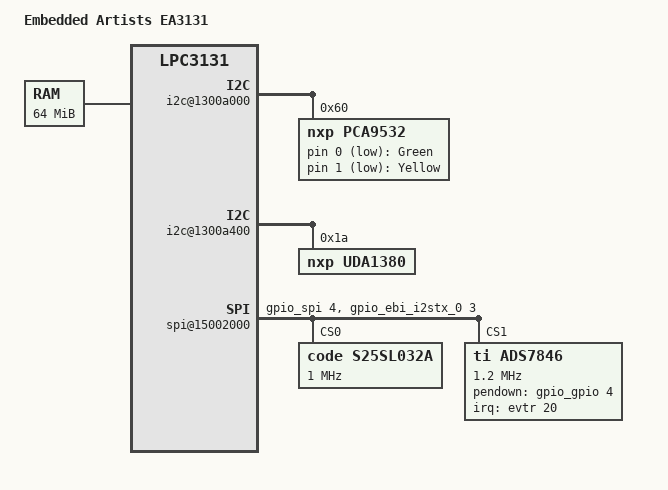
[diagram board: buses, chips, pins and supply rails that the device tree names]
/*
 * ea3131.dts - Device Tree file for EA3131 board
 *
 *  Copyright (C) 2012 Jon Smirl <jonsmirl@gmail.com>
 *
 * Licensed under GPLv2.
 */
/dts-v1/;
/include/ "lpc3131.dtsi"

/ {
	model = "Embedded Artists EA3131";
	compatible = "ea,ea3131", "nxp,lpc3131";

	chosen {
		bootargs = "console=ttyS0,115200n8 root=/dev/mmcblk0p3 init=/etc/preinit rw rootwait loglevel=7";
	};

	evtr@13000000 {
		events = <
			0 0x67 3 /* irq 0 EVT_wdog_m0, EVT_RISING_EDGE */
			0 0x7A 2 /* irq 1 EVT_usb_otg_vbus_pwr_en, EVT_FALLING_EDGE */
			0 0x77 2 /* irq 2 EVT_USB_VBUS, EVT_FALLING_EDGE */
			0 0x7b 0 /* irq 3 EVT_USB_ID, EVT_ACTIVE_LOW */
			1 0x18 1 /* irq 4 EVT_mNAND_RYBN3, EVT_ACTIVE_HIGH, DM9000_ETH_INT */
			2 0x50 0 /* irq 5 EVT_mI2STX_BCK0, EVT_ACTIVE_LOW, SDMMC_CD */
			3 0x55 0 /* irq 6 EVT_I2SRX_WS0, EVT_ACTIVE_LOW, EA_VBUS_OVRC */
			3 0x33 1 /* irq 7 EVT_GPIO4, EVT_ACTIVE_HIGH, PENDOWN */
		>;
	};
	i2c@1300a000 {
		slave-addr = <0x6E>;
		pca9532: leds@60 {
			#gpio-cells = <2>;
			compatible = "nxp,pca9532";
			reg = <0x60>;
			gpio-controller;
		};
	};
	i2c@1300a400 {
		slave-addr = <0x6E>;
		uda1380: codec@1a {
			compatible = "nxp,uda1380";
			reg = <0x1a>;
		};
	};
	spi@15002000 {
		gpios = <&gpio_spi 4 0  /* chip selects */
			 &gpio_ebi_i2stx_0 3 0>; 
		s25sl032a@0 {
			compatible = "code,s25sl032a";
			reg = <0>;
			spi-max-frequency = <1000000>;
		};
		ads7846@1 {
			compatible = "ti,ads7846";
			reg = <1>;
			spi-max-frequency = <1200000>;
			interrupts = <20>;
			vref_delay_usecs = <100>;
			x-plate-ohms = <419>;
			y-plate-ohms = <486>;
			interrupt-parent = <&evtr>;
			pen-irq = <7 4>;
			gpio-pendown = <&gpio_gpio 4 0>;
		};
	};
	sound {
		compatible = "ea,ea3131-uda1380";
		audio-codec = <&uda1380>;
		i2s-controller = <&i2s>;
		i2s-channel = <1>;
	};
	nand@17000800 {
		bank-width = <2>;
		device-width = <1>;				
	};
	sdmmc@18000000 {
		slot@0 {
			width = <4>;
			detect-delays = <250>;
			voltage-ranges = <3200 3400>;
			gpios = <
				&gpio_ebi_mci 7 0 /* card detect */
				0 /* write protect, no hardware */
				&gpio_ebi_i2stx_0 5 0 /* power */
				0 /* slot select, no hardware */
			>;
			interrupt-parent = <&evtr>;
			interrupts = <5 8>;
		};
	};
	usb@19000000 {
		vbus-over =  <&gpio_i2srx_0 2 0>;
	};
	sram@20000000 {
		mpmc-config = <0x81 0 0 31 0 3 0>;
		ssd1289@20000000 {
			compatible = "ssd,ssd1289";
			reg = <0x20000000 0x10000 0x20010000 0x10000>;
		};
	};
	sram@20020000 {
		/* enable oe toggle between consecutive reads */
		mpmc-config = <0x81 1 1 4 1 1 2 0x24>;
		dm9000@20020000 {
			compatible = "davicom,dm9000";
			reg = <0x20020000 0x100 0x20030000 0x100>;
			/* interrupts = <34>; */
			interrupt-parent = <&evtr>;
			interrupts = <4 4>;
			gpios = <
				&gpio_ebi_i2stx_0 2 0 /* main irq, map gpio to irq */
				0  /* WOL irq, map gpio to irq */
			>;
		};			
	};
	memory@30000000 {
		reg = <0x30000000 0x4000000>;
	};
	gpio-leds {
		compatible = "gpio-leds";
		green {
			label = "Green";
			gpios = <&pca9532 0 1>;
		};
		yellow {
			label = "Yellow";
			gpios = <&pca9532 1 1>;
		};
	};
};
